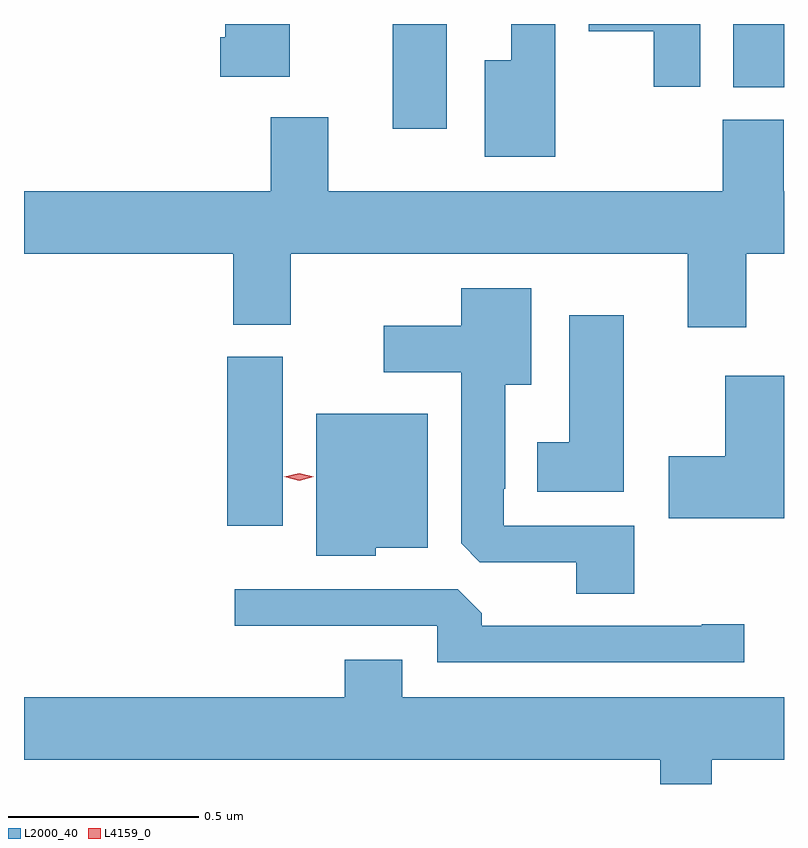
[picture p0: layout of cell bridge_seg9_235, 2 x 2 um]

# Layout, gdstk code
import gdstk
lib = gdstk.Library(unit=1e-6, precision=1e-09)
def R(c, l, rs):  # rectangles x0, y0, x1, y1
    for r in rs: c.add(gdstk.rectangle(r[:2], r[2:], *l))
def P(c, l, *ps):  # polygons
    for p in ps: c.add(gdstk.Polygon(p, *l))
L2000_40 = (2000, 40)
L4159_0 = (4159, 0)

bridge_seg9_235 = lib.new_cell('bridge_seg9_235')
R(bridge_seg9_235, L2000_40, [(185.33,1214.352,185.476,1214.796), (185.765,1215.396,185.908,1215.672), (186.662,1215.505,186.795,1215.672)])
P(bridge_seg9_235, L2000_40, [(185.494,1215.672),(185.324,1215.672),(185.324,1215.637),(185.312,1215.637),(185.312,1215.533),(185.494,1215.533)],
  [(186.574,1215.672),(186.281,1215.672),(186.281,1215.653),(186.452,1215.653),(186.452,1215.507),(186.574,1215.507)],
  [(186.193,1215.672),(186.077,1215.672),(186.077,1215.577),(186.008,1215.577),(186.008,1215.323),(186.193,1215.323)],
  [(186.695,1215.068),(186.795,1215.068),(186.795,1215.232),(186.794,1215.232),(186.794,1215.42),(186.634,1215.42),(186.634,1215.232),(185.596,1215.232),(185.596,1215.427),(185.444,1215.427),(185.444,1215.232),(184.795,1215.232),(184.795,1215.068),(185.345,1215.068),(185.345,1214.881),(185.497,1214.881),(185.497,1215.068),(186.542,1215.068),(186.542,1214.874),(186.695,1214.874)],
  [(186.401,1214.352),(186.057,1214.352),(186.057,1214.449),(186.061,1214.449),(186.061,1214.723),(186.13,1214.723),(186.13,1214.977),(185.945,1214.977),(185.945,1214.878),(185.742,1214.878),(185.742,1214.756),(185.945,1214.756),(185.945,1214.305),(185.994,1214.256),(186.248,1214.256),(186.248,1214.173),(186.401,1214.173)],
  [(186.373,1214.905),(186.23,1214.905),(186.23,1214.572),(186.146,1214.572),(186.146,1214.441),(186.373,1214.441)],
  [(186.795,1214.746),(186.641,1214.746),(186.641,1214.535),(186.492,1214.535),(186.492,1214.372),(186.795,1214.372)],
  [(185.721,1214.294),(185.857,1214.294),(185.857,1214.647),(185.564,1214.647),(185.564,1214.273),(185.721,1214.273)],
  [(186.691,1214.093),(186.578,1214.093),(186.578,1214.088),(185.999,1214.088),(185.999,1214.122),(185.937,1214.184),(185.349,1214.184),(185.349,1214.088),(185.883,1214.088),(185.883,1213.992),(186.691,1213.992)],
  [(186.605,1213.736),(186.795,1213.736),(186.795,1213.9),(185.791,1213.9),(185.791,1213.999),(185.639,1213.999),(185.639,1213.9),(184.795,1213.9),(184.795,1213.736),(186.469,1213.736),(186.469,1213.672),(186.605,1213.672)])
P(bridge_seg9_235, L4159_0, [(185.519,1214.47),(185.48,1214.48),(185.48,1214.48),(185.48,1214.48),(185.519,1214.49),(185.557,1214.48),(185.557,1214.48),(185.557,1214.48)])

lib.write_gds('bridge_seg9_235.gds')
